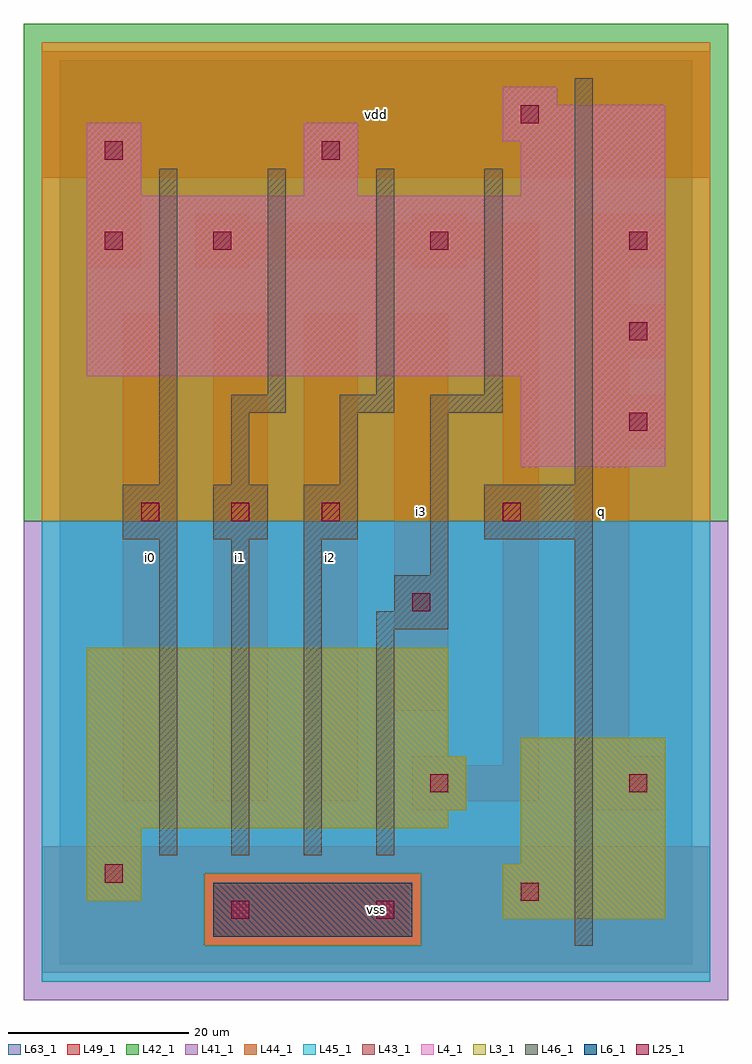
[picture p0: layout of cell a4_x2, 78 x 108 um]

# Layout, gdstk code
import gdstk
lib = gdstk.Library(unit=1e-6, precision=1e-09)
def R(c, l, rs):  # rectangles x0, y0, x1, y1
    for r in rs: c.add(gdstk.rectangle(r[:2], r[2:], *l))
def A(c, l, x, y, w, h, nx, ny, dx, dy):  # array of equal rectangles
    R(c, l, [(x+i*dx, y+j*dy, x+i*dx+w, y+j*dy+h) for i in range(nx) for j in range(ny)])
L3_1 = (3, 1)
L4_1 = (4, 1)
L6_1 = (6, 1)
L25_1 = (25, 1)
L41_1 = (41, 1)
L42_1 = (42, 1)
L43_1 = (43, 1)
L44_1 = (44, 1)
L45_1 = (45, 1)
L46_1 = (46, 1)
L49_1 = (49, 1)
L63_1 = (63, 1)

a4_x2 = lib.new_cell('a4_x2')
R(a4_x2, L3_1, [(49,5,67,11), (3,7,9,15), (51,11,67,25), (3,15,43,17), (3,17,45,23), (3,23,43,35)])
R(a4_x2, L4_1, [(51,55,67,65), (3,65,67,85), (3,85,9,93), (27,85,33,93), (51,85,67,91), (49,91,67,95), (49,95,55,97)])
R(a4_x2, L6_1, [(17,3,39,9)])
A(a4_x2, L25_1, 9, 49, 2, 2, 3, 1, 10, 0)
A(a4_x2, L25_1, 63, 59, 2, 2, 1, 3, 0, 10)
R(a4_x2, L25_1, [(19,5,21,7), (35,5,37,7), (51,7,53,9), (5,9,7,11), (41,19,43,21), (63,19,65,21), (39,39,41,41), (49,49,51,51), (5,79,7,81), (17,79,19,81), (41,79,43,81), (5,89,7,91), (29,89,31,91), (51,93,53,95)])
R(a4_x2, L41_1, [(-4,-4,74,49)])
R(a4_x2, L42_1, [(-4,49,74,104)])
R(a4_x2, L43_1, [(17,3,39,9), (49,5,67,11), (3,7,9,15), (51,11,67,25), (3,15,43,17), (3,17,45,23), (3,23,43,35), (51,55,67,65), (3,65,67,85), (3,85,9,93), (27,85,33,93), (51,85,67,91), (49,91,67,95), (49,95,55,97)])
R(a4_x2, L44_1, [(16,2,40,10), (-2,49,72,102)])
R(a4_x2, L45_1, [(-2,-2,72,2), (-2,2,16,10), (40,2,72,10), (-2,10,72,49)])
A(a4_x2, L46_1, 11, 12, 2, 35, 3, 1, 8, 0)
A(a4_x2, L46_1, 7, 47, 6, 6, 3, 1, 10, 0)
A(a4_x2, L46_1, 23, 63, 2, 25, 3, 1, 12, 0)
R(a4_x2, L46_1, [(57,2,59,47), (35,12,37,37), (35,37,43,39), (37,39,43,43), (41,43,43,61), (47,47,59,53), (11,53,13,88), (19,53,21,61), (31,53,33,61), (57,53,59,98), (19,61,25,63), (31,61,37,63), (41,61,49,63)])
A(a4_x2, L49_1, 7, 18, 6, 54, 3, 1, 10, 0)
A(a4_x2, L49_1, 57, 57, 10, 6, 1, 3, 0, 10)
R(a4_x2, L49_1, [(-2,-1,72,13), (39,17,45,18), (57,17,67,23), (39,18,53,22), (39,22,45,23), (49,22,53,47), (57,23,63,57), (37,28,43,72), (47,47,53,53), (49,53,53,78), (57,63,63,67), (57,73,63,77), (3,77,9,87), (15,77,21,78), (39,77,45,78), (15,78,53,82), (15,82,21,83), (39,82,45,83), (-2,87,72,101)])
R(a4_x2, L63_1, [(0,0,70,100)])
a4_x2.add(gdstk.Label('i0', (10,45), layer=49, texttype=1))
a4_x2.add(gdstk.Label('i0', (10,45), layer=49, texttype=1))
a4_x2.add(gdstk.Label('i2', (30,45), layer=49, texttype=1))
a4_x2.add(gdstk.Label('i1', (20,45), layer=49, texttype=1))
a4_x2.add(gdstk.Label('i2', (30,45), layer=49, texttype=1))
a4_x2.add(gdstk.Label('i1', (20,45), layer=49, texttype=1))
a4_x2.add(gdstk.Label('vss', (35,6), layer=49, texttype=1))
a4_x2.add(gdstk.Label('vss', (35,6), layer=49, texttype=1))
a4_x2.add(gdstk.Label('i3', (40,50), layer=49, texttype=1))
a4_x2.add(gdstk.Label('i3', (40,50), layer=49, texttype=1))
a4_x2.add(gdstk.Label('vdd', (35,94), layer=49, texttype=1))
a4_x2.add(gdstk.Label('vdd', (35,94), layer=49, texttype=1))
a4_x2.add(gdstk.Label('q', (60,50), layer=49, texttype=1))
a4_x2.add(gdstk.Label('q', (60,50), layer=49, texttype=1))

lib.write_gds('a4_x2.gds')
